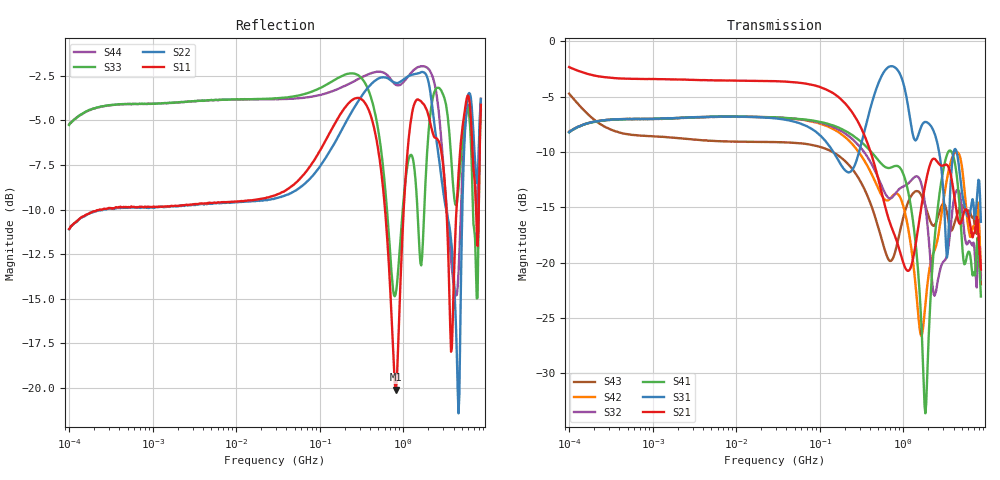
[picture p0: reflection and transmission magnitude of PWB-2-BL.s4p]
# MHz S MA R 50
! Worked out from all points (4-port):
!   498 points, 100 kHz to 8.5 GHz, reference 50 ohm
!   strongest paths, dB at 100 kHz, 1.698 MHz, 29.49 MHz, 500.7 MHz, 8.5 GHz:
!     S21: -2.3, -3.4, -3.6, -12.4, -20.6
!     S31: -8.2, -6.9, -7.0, -3.8, -16.3
!     S41: -8.2, -6.9, -6.9, -10.7, -23.1
!     S32: -8.2, -7.0, -6.9, -12.3, -21.5
!     S42: -8.2, -6.9, -6.9, -13.3, -22.0
!     S43: -4.7, -8.7, -9.1, -16.8, -21.1
!   lowest |S11| = -20.1 dB at 808.8 MHz (marker M1), VSWR 1.22, Z = 50.1 - j9.93 ohm
!   |S11| at or under -10 dB: 604.8 MHz to 1.013 GHz (408 MHz wide, 50.5 % of centre); 3.287 GHz to 4.339 GHz (1.051 GHz wide, 27.6 % of centre); 7.444 GHz to 8.008 GHz (563.3 MHz wide, 7.29 % of centre)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
0.1  0.2788 29.5  0.7662 -10.4  0.389 29.7  0.3882 -150.5
     0.7662 -10.4  0.2782 30.6  0.3893 -150.9  0.3907 29.1
     0.389 29.7  0.3893 -150.9  0.5459 28.7  0.5809 -27.2
     0.3882 -150.5  0.3907 29.1  0.5809 -27.2  0.5484 28.8
808.7776  0.09868 -83.7  0.1297 153.2  0.76 -86.1  0.2738 -40.0
          0.1297 153.2  0.7172 -82.4  0.2057 -21.4  0.205 -102.8
          0.76 -86.1  0.2057 -21.4  0.1824 -96.9  0.1135 105.0
          0.2738 -40.0  0.205 -102.8  0.1135 105.0  0.7092 -86.8
1840.304  0.6131 -158.7  0.2264 -70.7  0.4328 168.9  0.02082 37.2
          0.2264 -70.7  0.7616 -171.3  0.1799 170.6  0.0646 -138.2
          0.4328 168.9  0.1799 170.6  0.3716 -118.8  0.1802 -123.8
          0.02082 37.2  0.0646 -138.2  0.1802 -123.8  0.7957 -167.2
2713.323  0.4855 152.7  0.2782 150.2  0.3094 64.3  0.2042 -169.8
          0.2782 150.2  0.4291 121.5  0.09038 130.8  0.1431 159.5
          0.3094 64.3  0.09038 130.8  0.6928 167.8  0.1696 155.7
          0.2042 -169.8  0.1431 159.5  0.1696 155.7  0.5681 114.8
3735.583  0.1261 50.5  0.246 23.3  0.2452 28.8  0.3193 31.9
          0.246 23.3  0.2602 -20.2  0.152 53.1  0.2886 46.1
          0.2452 28.8  0.152 53.1  0.4475 26.1  0.1394 48.1
          0.3193 31.9  0.2886 46.1  0.1394 48.1  0.2288 -18.2
6920.76  0.412 -164.3  0.1345 88.1  0.1863 41.4  0.09024 76.8
         0.1345 88.1  0.5206 -163.8  0.1232 70.2  0.1463 42.6
         0.1863 41.4  0.1232 70.2  0.2883 -171.4  0.1619 99.2
         0.09024 76.8  0.1463 42.6  0.1619 99.2  0.4856 -154.6
8500  0.6223 -46.6  0.09312 -109.6  0.153 -138.0  0.07027 -99.9
      0.09312 -109.6  0.6447 -44.4  0.08396 -97.3  0.07962 -157.1
      0.153 -138.0  0.08396 -97.3  0.6027 -42.4  0.08816 -80.0
      0.07027 -99.9  0.07962 -157.1  0.08816 -80.0  0.6479 -40.8
